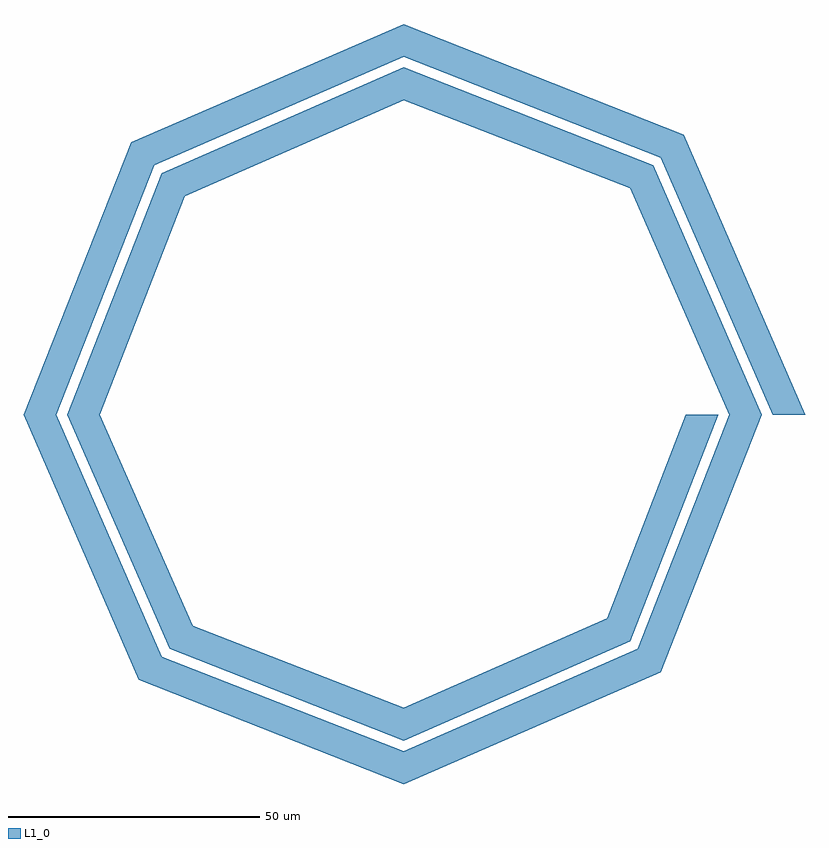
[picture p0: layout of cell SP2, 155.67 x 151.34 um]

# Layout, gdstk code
import gdstk
lib = gdstk.Library(unit=1e-6, precision=1e-09)
def P(c, l, *ps):  # polygons
    for p in ps: c.add(gdstk.Polygon(p, *l))
L1_0 = (1, 0)

sp2 = lib.new_cell('SP2')
P(sp2, L1_0, [(351.34,275.67),(329.04,326.88),(333.63,331.47),(357.83,275.67)],
  [(329.04,326.88),(277.83,347.01),(277.83,353.5),(333.63,331.47)],
  [(228.15,325.35),(223.56,329.94),(277.83,353.5),(277.83,347.01)],
  [(202.16,275.67),(223.56,329.94),(228.15,325.35),(208.65,275.67)],
  [(225.09,222.92),(202.16,275.67),(208.65,275.67),(229.68,227.52)],
  [(277.83,202.16),(225.09,222.92),(229.68,227.52),(277.83,208.65)],
  [(277.83,202.16),(277.83,208.65),(324.45,229.05),(329.04,224.45)],
  [(329.04,224.45),(324.45,229.05),(342.68,275.67),(349.17,275.67)],
  [(342.68,275.67),(322.92,320.75),(327.51,325.35),(349.17,275.67)],
  [(322.92,320.75),(277.83,338.35),(277.83,344.84),(327.51,325.35)],
  [(234.27,319.22),(229.68,323.81),(277.83,344.84),(277.83,338.35)],
  [(210.82,275.67),(229.68,323.81),(234.27,319.22),(217.31,275.67)],
  [(231.21,229.05),(210.82,275.67),(217.31,275.67),(235.8,233.64)],
  [(277.83,210.82),(231.21,229.05),(235.8,233.64),(277.83,217.31)],
  [(277.83,210.82),(277.83,217.31),(318.33,235.17),(322.92,230.58)],
  [(322.92,230.58),(318.33,235.17),(334.02,275.67),(340.51,275.67)])

lib.write_gds('SP2.gds')
